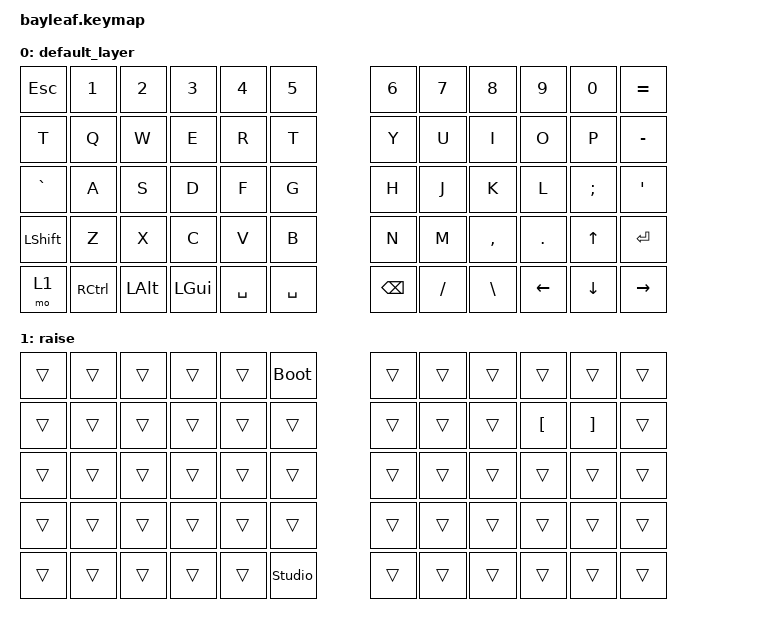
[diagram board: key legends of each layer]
// This file was generated from a template. Edit it to match your keyboard.
// See https://zmk.dev/docs/development/hardware-integration/new-shield for more instructions.

#include <behaviors.dtsi>
#include <dt-bindings/zmk/keys.h>

/ {
    // Define a default keymap here.
    // See https://zmk.dev/docs/development/hardware-integration/new-shield#default-keymap.
    keymap {
        compatible = "zmk,keymap";
        default_layer { // Layer 0 - Mac Layout with Numbers
            bindings = <
                &kp ESCAPE      &kp N1          &kp N2          &kp N3          &kp N4          &kp N5                  &kp N6          &kp N7          &kp N8          &kp N9          &kp N0          &kp EQUAL

                &kp T           &kp Q           &kp W           &kp E           &kp R           &kp T                   &kp Y           &kp U           &kp I           &kp O           &kp P           &kp MINUS

                &kp GRAVE       &kp A           &kp S           &kp D           &kp F           &kp G                   &kp H           &kp J           &kp K           &kp L           &kp SEMI        &kp SQT

                &kp LSHFT       &kp Z           &kp X           &kp C           &kp V           &kp B                   &kp N           &kp M           &kp COMMA       &kp PERIOD      &kp UP          &kp RET

                &mo 1           &kp RCTRL       &kp LALT        &kp LGUI        &kp SPACE       &kp SPACE               &kp BACKSPACE   &kp SLASH       &kp BACKSLASH   &kp LEFT        &kp DOWN        &kp RIGHT
            >;
        };
        raise {
            bindings = <
                &trans          &trans          &trans          &trans          &trans          &bootloader             &trans          &trans          &trans          &trans          &trans          &trans

                &trans          &trans          &trans          &trans          &trans          &trans                  &trans          &trans          &trans          &kp LBKT        &kp RBKT        &trans

                &trans          &trans          &trans          &trans          &trans          &trans                  &trans          &trans          &trans          &trans          &trans          &trans

                &trans          &trans          &trans          &trans          &trans          &trans                  &trans          &trans          &trans          &trans          &trans          &trans

                &trans          &trans          &trans          &trans          &trans          &studio_unlock          &trans          &trans          &trans          &trans          &trans          &trans
            >;
        };
    };
};
